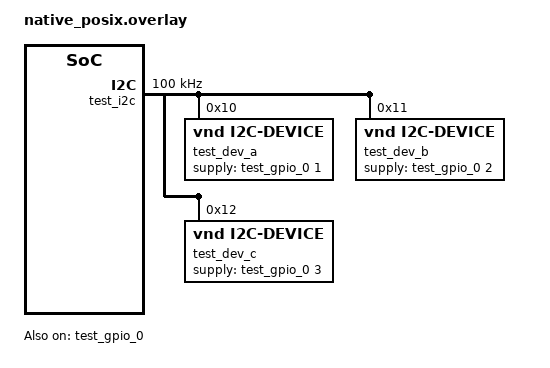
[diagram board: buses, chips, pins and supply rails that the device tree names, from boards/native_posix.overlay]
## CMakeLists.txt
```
# SPDX-License-Identifier: Apache-2.0

cmake_minimum_required(VERSION 3.20.0)
find_package(Zephyr REQUIRED HINTS $ENV{ZEPHYR_BASE})

set(output_file ${PROJECT_BINARY_DIR}/check_init_priorities_output.txt)

add_custom_target(
	check_init_priorities_output
	COMMENT "Running check_init_priorities.py"
	COMMAND ${PYTHON_EXECUTABLE} ${ZEPHYR_BASE}/scripts/build/check_init_priorities.py
	  --verbose
	  --build-dir ${PROJECT_BINARY_DIR}/..
	  --output ${output_file}
	  --always-succeed
	COMMAND ${PYTHON_EXECUTABLE} ${APPLICATION_SOURCE_DIR}/validate_check_init_priorities_output.py
	  ${output_file}
	DEPENDS zephyr_pre0
)
if (TARGET zephyr_pre1)
  add_dependencies(zephyr_pre1 check_init_priorities_output)
endif()

project(check_init_priorities)

target_sources(app PRIVATE src/main.c)
```

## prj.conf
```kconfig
# Required to force 2 stage linking
CONFIG_DEVICE_DEPS=y

CONFIG_CHECK_INIT_PRIORITIES=n
```

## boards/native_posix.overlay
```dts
/*
 * Copyright 2023 Google LLC
 *
 * SPDX-License-Identifier: Apache-2.0
 */

/ {
	test_gpio_0: gpio@ffff {
		gpio-controller;
		#gpio-cells = <0x2>;
		compatible = "vnd,gpio-device";
		status = "okay";
		reg = <0xffff 0x1000>;
	};

	test_i2c: i2c@11112222 {
		#address-cells = <1>;
		#size-cells = <0>;
		compatible = "vnd,i2c";
		status = "okay";
		reg = <0x11112222 0x1000>;
		clock-frequency = <100000>;

		test_dev_a: test-i2c-dev@10 {
			compatible = "vnd,i2c-device";
			status = "okay";
			reg = <0x10>;
			supply-gpios = <&test_gpio_0 1 0>;
		};

		test_dev_b: test-i2c-dev@11 {
			compatible = "vnd,i2c-device";
			status = "okay";
			reg = <0x11>;
			supply-gpios = <&test_gpio_0 2 0>;
		};

		test_dev_c: test-i2c-dev@12 {
			compatible = "vnd,i2c-device";
			status = "okay";
			reg = <0x12>;
			supply-gpios = <&test_gpio_0 3 0>;
		};
	};
};
```

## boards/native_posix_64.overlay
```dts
/*
 * Copyright 2023 Google LLC
 *
 * SPDX-License-Identifier: Apache-2.0
 */
#include "native_posix.overlay"
```

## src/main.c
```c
/*
 * Copyright 2023 Google LLC
 *
 * SPDX-License-Identifier: Apache-2.0
 */

#include <zephyr/device.h>

static int device_init(const struct device *dev)
{
	return 0;
}

DEVICE_DT_DEFINE(DT_INST(0, vnd_gpio_device), device_init, NULL, NULL, NULL,
		 PRE_KERNEL_1, 50, NULL);
DEVICE_DT_DEFINE(DT_INST(0, vnd_i2c), device_init, NULL, NULL, NULL,
		 PRE_KERNEL_1, 50, NULL);

DEVICE_DT_DEFINE(DT_INST(0, vnd_i2c_device), device_init, NULL, NULL, NULL,
		 PRE_KERNEL_1, 49, NULL);
DEVICE_DT_DEFINE(DT_INST(1, vnd_i2c_device), device_init, NULL, NULL, NULL,
		 PRE_KERNEL_1, 50, NULL);
DEVICE_DT_DEFINE(DT_INST(2, vnd_i2c_device), device_init, NULL, NULL, NULL,
		 PRE_KERNEL_1, 51, NULL);
```
